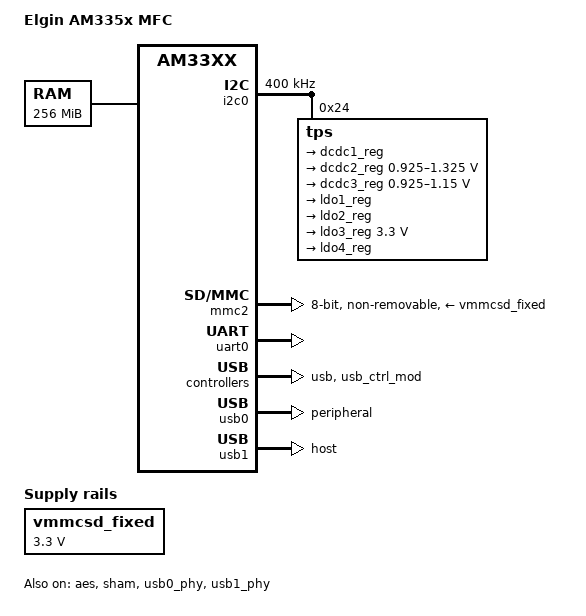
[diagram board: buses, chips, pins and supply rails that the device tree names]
// SPDX-License-Identifier: GPL-2.0-only
/*
 * Copyright (C) 2012 Texas Instruments Incorporated - http://www.ti.com/
 */
/dts-v1/;

#include "am33xx.dtsi"
#include <dt-bindings/interrupt-controller/irq.h>

/ {
	model = "Elgin AM335x MFC";
	compatible = "elgin,am335x-mfc", "ti,am33xx";

	chosen {
		stdout-path = &uart0;
		tick-timer = &timer2;
	};

	cpus {
		cpu@0 {
			cpu0-supply = <&dcdc2_reg>;
		};
	};

	memory@80000000 {
		device_type = "memory";
		reg = <0x80000000 0x10000000>;
	};

	vmmcsd_fixed: vmmcsd-fixed-regulator {
		compatible = "regulator-fixed";
		regulator-name = "vmmcsd_fixed";
		regulator-min-microvolt = <3300000>;
		regulator-max-microvolt = <3300000>;
	};
};

&aes {
	status = "okay";
};

&cppi41dma  {
	status = "okay";
};

&i2c0 {
	pinctrl-names = "default";
	pinctrl-0 = <&i2c0_pins>;
	clock-frequency = <400000>;
	status = "okay";

	tps: tps@24 {
		reg = <0x24>;
	};
};

&mmc2 {
	pinctrl-names = "default";
	pinctrl-0 = <&emmc_pins>;
	bus-width = <8>;
	no-1-8-v;
	max-frequency = <26000000>;
	sd-uhs-sdr25;
	vmmc-supply = <&vmmcsd_fixed>;
	non-removable;
	status = "okay";
};

&sham {
	status = "okay";
};

/include/ "tps65217.dtsi"

&tps {
	ti,pmic-shutdown-controller;

	regulators {
		dcdc1_reg: regulator@0 {
			regulator-name = "vdds_dpr";
			regulator-always-on;
		};

		dcdc2_reg: regulator@1 {
			/* VDD_MPU voltage limits 0.95V - 1.26V with +/-4% tolerance */
			regulator-name = "vdd_mpu";
			regulator-min-microvolt = <925000>;
			regulator-max-microvolt = <1325000>;
			regulator-boot-on;
			regulator-always-on;
		};

		dcdc3_reg: regulator@2 {
			/* VDD_CORE voltage limits 0.95V - 1.1V with +/-4% tolerance */
			regulator-name = "vdd_core";
			regulator-min-microvolt = <925000>;
			regulator-max-microvolt = <1150000>;
			regulator-boot-on;
			regulator-always-on;
		};

		ldo1_reg: regulator@3 {
			regulator-name = "vio,vrtc,vdds";
			regulator-always-on;
		};

		ldo2_reg: regulator@4 {
			regulator-name = "vdd_3v3aux";
			regulator-always-on;
		};

		ldo3_reg: regulator@5 {
			regulator-name = "vdd_3v3";
			regulator-min-microvolt = <3300000>;
			regulator-max-microvolt = <3300000>;
			regulator-always-on;
		};

		ldo4_reg: regulator@6 {
			regulator-name = "vdd_3v3a";
			regulator-always-on;
		};
	};
};

&uart0 {
	pinctrl-names = "default";
	pinctrl-0 = <&uart0_pins>;
	status = "okay";
};

&usb {
	status = "okay";
};

&usb_ctrl_mod {
	status = "okay";
};

&usb0_phy {
	status = "okay";
};

&usb1_phy {
	status = "okay";
};

&usb0 {
	dr_mode = "peripheral";
	status = "okay";
};

&usb1 {
	dr_mode = "host";
	status = "okay";
};

&am33xx_pinmux {
	pinctrl-names = "default";
	pinctrl-0 = <&clkout2_pin>;

	clkout2_pin: clkout2pingroup {
		pinctrl-single,pins = <
			AM33XX_PADCONF(AM335X_PIN_XDMA_EVENT_INTR1, PIN_OUTPUT_PULLDOWN, MUX_MODE3)	/* xdma_event_intr1.clkout2 */
		>;
	};

	emmc_pins: emmcpinsgrp {
		pinctrl-single,pins = <
			AM33XX_PADCONF(AM335X_PIN_GPMC_CSN1, PIN_INPUT_PULLUP, MUX_MODE2) /* gpmc_csn1.mmc1_clk */
			AM33XX_PADCONF(AM335X_PIN_GPMC_CSN2, PIN_INPUT_PULLUP, MUX_MODE2) /* gpmc_csn2.mmc1_cmd */
			AM33XX_PADCONF(AM335X_PIN_GPMC_AD0, PIN_INPUT_PULLUP, MUX_MODE1) /* gpmc_ad0.mmc1_dat0 */
			AM33XX_PADCONF(AM335X_PIN_GPMC_AD1, PIN_INPUT_PULLUP, MUX_MODE1) /* gpmc_ad1.mmc1_dat1 */
			AM33XX_PADCONF(AM335X_PIN_GPMC_AD2, PIN_INPUT_PULLUP, MUX_MODE1) /* gpmc_ad2.mmc1_dat2 */
			AM33XX_PADCONF(AM335X_PIN_GPMC_AD3, PIN_INPUT_PULLUP, MUX_MODE1) /* gpmc_ad3.mmc1_dat3 */
			AM33XX_PADCONF(AM335X_PIN_GPMC_AD4, PIN_INPUT_PULLUP, MUX_MODE1) /* gpmc_ad4.mmc1_dat4 */
			AM33XX_PADCONF(AM335X_PIN_GPMC_AD5, PIN_INPUT_PULLUP, MUX_MODE1) /* gpmc_ad5.mmc1_dat5 */
			AM33XX_PADCONF(AM335X_PIN_GPMC_AD6, PIN_INPUT_PULLUP, MUX_MODE1) /* gpmc_ad6.mmc1_dat6 */
			AM33XX_PADCONF(AM335X_PIN_GPMC_AD7, PIN_INPUT_PULLUP, MUX_MODE1) /* gpmc_ad7.mmc1_dat7 */
		>;
	};

	i2c0_pins: i2c0pinsgrp {
		pinctrl-single,pins = <
			AM33XX_PADCONF(AM335X_PIN_I2C0_SDA, PIN_INPUT_PULLUP, MUX_MODE0)	/* i2c0_sda.i2c0_sda */
			AM33XX_PADCONF(AM335X_PIN_I2C0_SCL, PIN_INPUT_PULLUP, MUX_MODE0)	/* i2c0_scl.i2c0_scl */
		>;
	};

	uart0_pins: uart0pinsgrp {
		pinctrl-single,pins = <
			AM33XX_PADCONF(AM335X_PIN_UART0_RXD, PIN_INPUT_PULLUP, MUX_MODE0)	/* uart0_rxd.uart0_rxd */
			AM33XX_PADCONF(AM335X_PIN_UART0_TXD, PIN_OUTPUT_PULLDOWN, MUX_MODE0)	/* uart0_txd.uart0_txd */
		>;
	};
};
